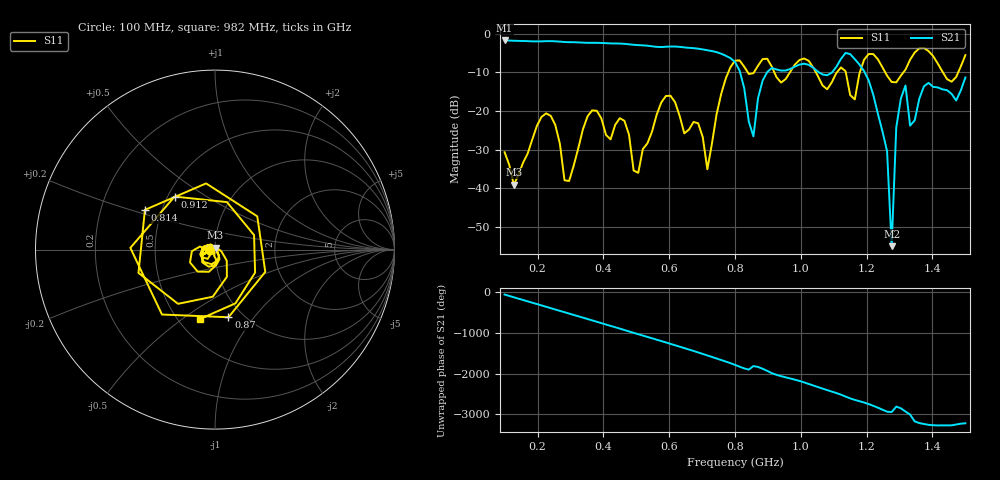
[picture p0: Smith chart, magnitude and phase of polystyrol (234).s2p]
! NanoVNA-App
! Date: 2025-09-25 15:31:42
! Start: 100MHz Stop: 1,5GHz Points: 101
! S-Parameter data: F S11 S21 S12 S22
# Hz S RI R 50
!  Frequency  S11_Real  S11_Imag  S21_Real  S21_Imag  S12_Real  S12_Imag  S22_Real  S22_Imag
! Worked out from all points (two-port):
!   101 points, 100 MHz to 1.5 GHz, reference 50 ohm
!   highest |S21| = -1.80 dB at 100 MHz (marker M1); lowest = -55.0 dB at 1.276 GHz (marker M2)
!   |S21| within 3 dB of the highest: start of sweep to 743.1 MHz
!   lowest |S11| = -39.1 dB at 128 MHz (marker M3), VSWR 1.02, Z = 50.3 + j1.06 ohm
!   |S11| at or under -10 dB: start of sweep to 779.8 MHz; 1.046 GHz to 1.11 GHz (64.49 MHz wide, 5.98 % of centre); 1.256 GHz to 1.312 GHz (55.98 MHz wide, 4.36 % of centre) (the widest 3 of 7)
!   S12 and S22 are empty: the file has one direction only
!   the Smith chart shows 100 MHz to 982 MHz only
!   S11 on the Smith chart (normalised r, x): 100 MHz: 0.94, -0.01; 814 MHz: 0.40, +0.22; 870 MHz: 0.85, -0.76; 912 MHz: 0.54, +0.37; 982 MHz: 0.63, -0.58
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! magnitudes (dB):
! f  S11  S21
! 100 MHz  -30.7  -1.8
! 128 MHz  -39.1  -1.9
! 212 MHz  -21.6  -2.0
! 282 MHz  -38.0  -2.2
! 338 MHz  -24.7  -2.4
! 506 MHz  -36.0  -3.0
! 576 MHz  -17.8  -3.5
! 716 MHz  -35.1  -4.3
! 800 MHz  -7.0  -7.4
! 814 MHz  -7.0  -9.6
! 856 MHz  -10.3  -26.6
! 870 MHz  -8.3  -16.7
! 912 MHz  -8.6  -8.9
! 982 MHz  -8.0  -8.6
! 1.038 GHz  -8.8  -8.9
! 1.164 GHz  -17.0  -6.6
! 1.206 GHz  -5.3  -12.1
! 1.262 GHz  -10.9  -30.4
! 1.276 GHz  -12.5  -55.0
! 1.29 GHz  -12.6  -24.3
! 1.318 GHz  -9.4  -13.4
! 1.5 GHz  -5.6  -11.4
